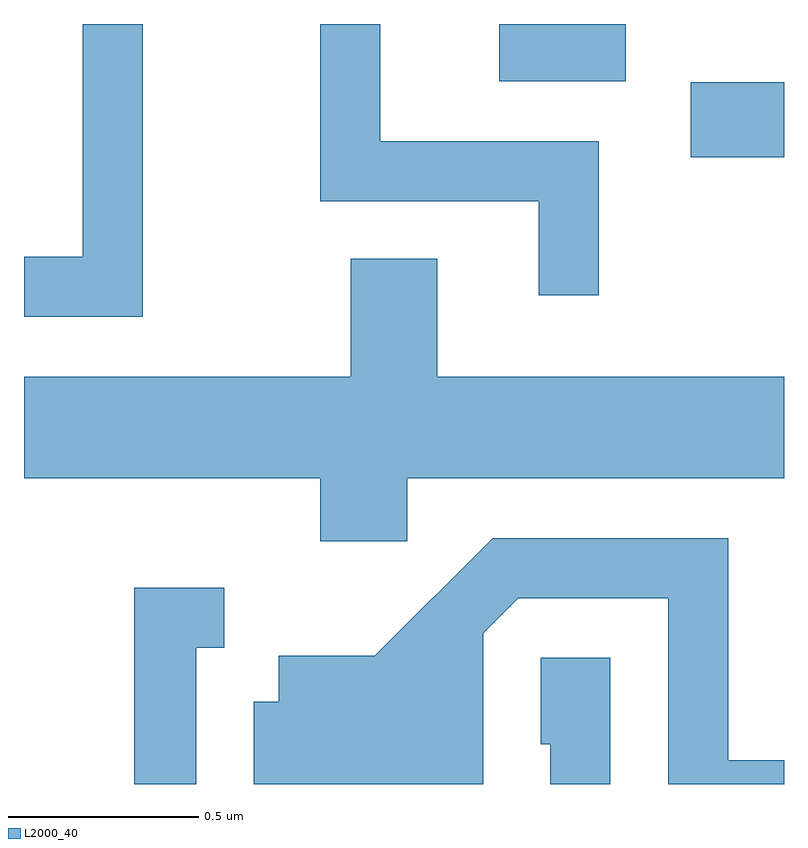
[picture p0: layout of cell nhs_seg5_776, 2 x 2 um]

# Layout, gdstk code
import gdstk
lib = gdstk.Library(unit=1e-6, precision=1e-09)
def R(c, l, rs):  # rectangles x0, y0, x1, y1
    for r in rs: c.add(gdstk.rectangle(r[:2], r[2:], *l))
def P(c, l, *ps):  # polygons
    for p in ps: c.add(gdstk.Polygon(p, *l))
L2000_40 = (2000, 40)

nhs_seg5_776 = lib.new_cell('nhs_seg5_776')
R(nhs_seg5_776, L2000_40, [(192.366,1488.721,192.611,1488.919), (191.861,1488.921,192.194,1489.072)])
P(nhs_seg5_776, L2000_40, [(190.924,1489.072),(190.766,1489.072),(190.766,1488.459),(190.611,1488.459),(190.611,1488.301),(190.924,1488.301)],
  [(192.124,1488.764),(191.549,1488.764),(191.549,1489.072),(191.391,1489.072),(191.391,1488.606),(191.966,1488.606),(191.966,1488.358),(192.124,1488.358)],
  [(191.619,1487.876),(192.611,1487.876),(192.611,1488.144),(191.699,1488.144),(191.699,1488.454),(191.471,1488.454),(191.471,1488.144),(190.611,1488.144),(190.611,1487.876),(191.391,1487.876),(191.391,1487.711),(191.619,1487.711)],
  [(191.819,1487.469),(191.912,1487.561),(192.306,1487.561),(192.306,1487.072),(192.611,1487.072),(192.611,1487.134),(192.464,1487.134),(192.464,1487.719),(191.844,1487.719),(191.534,1487.409),(191.281,1487.409),(191.281,1487.289),(191.216,1487.289),(191.216,1487.072),(191.819,1487.072)],
  [(191.064,1487.431),(191.138,1487.431),(191.138,1487.589),(190.901,1487.589),(190.901,1487.072),(191.064,1487.072)],
  [(192.154,1487.404),(191.971,1487.404),(191.971,1487.176),(191.996,1487.176),(191.996,1487.072),(192.154,1487.072)])

lib.write_gds('nhs_seg5_776.gds')
